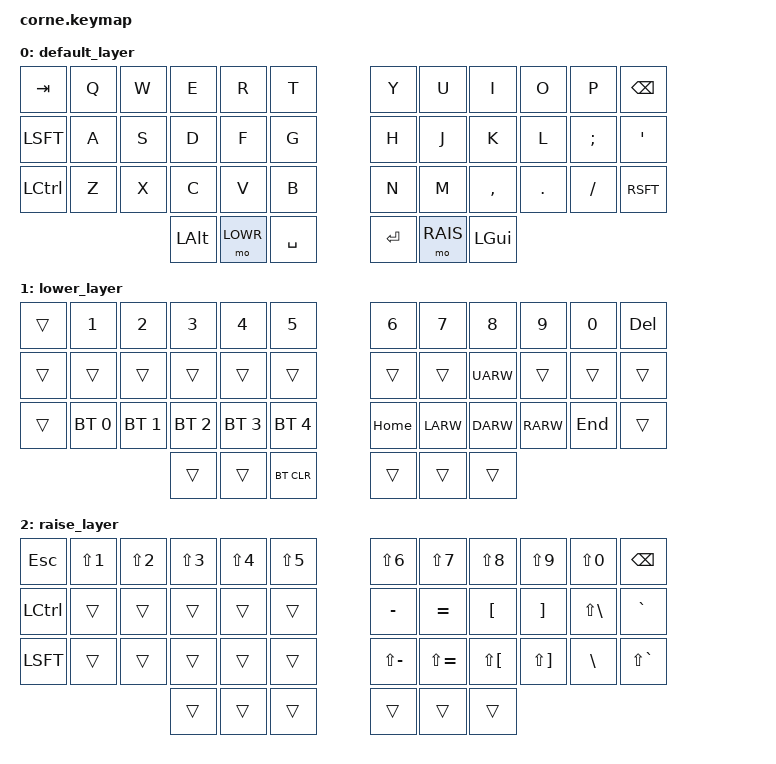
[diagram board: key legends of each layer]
#include <behaviors.dtsi>
#include <dt-bindings/zmk/bt.h>
#include <dt-bindings/zmk/keys.h>

#define LOWR 1
#define RAIS 2

/ {
    behaviors {
        bspc_del: backspace_delete {
            compatible = "zmk,behavior-mod-morph";
            #binding-cells = <0>;
            bindings = <&kp BACKSPACE>, <&kp DELETE>;
            mods = <(MOD_LSFT|MOD_RSFT)>;
            keep-mods = <(MOD_RSFT)>;
        };
    };
        keymap {
                compatible = "zmk,keymap";

                default_layer {
// -----------------------------------------------------------------------------------------
// |  TAB |  Q  |  W  |  E  |  R  |  T  |   |  Y  |  U   |  I  |  O  |  P  | BKSP |
// | CTRL |  A  |  S  |  D  |  F  |  G  |   |  H  |  J   |  K  |  L  |  ;  |  '   |
// | SHFT |  Z  |  X  |  C  |  V  |  B  |   |  N  |  M   |  ,  |  .  |  /  | SHFT |
//                    | GUI | LWR | SPC |   | ENT | RSE  | ALT |
                        bindings = <
   &kp TAB  &kp Q &kp W &kp E &kp R &kp T   &kp Y &kp U  &kp I    &kp O   &kp P    &kp BKSP
   &kp LSFT &kp A &kp S &kp D &kp F &kp G   &kp H &kp J  &kp K    &kp L   &kp SCLN &kp QUOT
   &kp LCTL &kp Z &kp X &kp C &kp V &kp B   &kp N &kp M  &kp CMMA &kp DOT &kp FSLH &kp RSFT
                   &kp LALT &mo LOWR &kp SPC   &kp RET &mo RAIS &kp LGUI
                        >;
                };
                lower_layer {
// -----------------------------------------------------------------------------------------
// |      |  1  |  2  |  3  |  4  |  5  |   |  6  |  7  |  8  |  9  |  0  | DEL  |
// |      |     |     |     |     |     |   | LFT | DWN |  UP | RGT |     |      |
// |      | BT1 | BT2 | BT3 | BT4 | BT5 |   | HME |     |     | END |     |      |
//                    |     |     | BTC |   |     |     |     |
                        bindings = <
   &trans &kp NUM_1    &kp NUM_2    &kp NUM_3    &kp NUM_4    &kp NUM_5      &kp NUM_6 &kp NUM_7  &kp NUM_8 &kp NUM_9 &kp NUM_0  &kp DEL
   &trans &trans       &trans       &trans       &trans       &trans         &trans    &trans     &kp UARW  &trans    &trans     &trans
   &trans &bt BT_SEL 0 &bt BT_SEL 1 &bt BT_SEL 2 &bt BT_SEL 3 &bt BT_SEL 4   &kp HOME  &kp LARW   &kp DARW  &kp RARW  &kp END    &trans
                                      &trans &trans &bt BT_CLR &trans &trans &trans
                        >;
                };

                raise_layer {
// -----------------------------------------------------------------------------------------
// |  ESC |  !  |  @  |  #  |  $  |  %  |   |  ^  |  &  |  *  |  (  |  )  | BKSP |
// | CTRL |     |     |     |     |     |   |  -  |  =  |  {  |  }  | "|" |  `   |
// | SHFT |     |     |     |     |     |   |  _  |  +  |  [  |  ]  |  \  |  ~   | // TODO: Fix this row when &mkp is committed
//                    | GUI |     | SPC |   | ENT |     | ALT |
   // &kp  ESC &kp LS(NUM_1)  &kp LS(NUM_2)  &kp HASH  &kp CURU  &kp PRCT    &kp CRRT  &kp AMPS &kp KMLT &kp LPRN &kp RPRN &kp BKSP
                        bindings = <
   &kp  ESC &kp LS(NUM_1)  &kp LS(NUM_2)  &kp LS(NUM_3)  &kp LS(NUM_4)  &kp LS(NUM_5)    &kp LS(NUM_6)  &kp LS(NUM_7) &kp LS(NUM_8) &kp LS(NUM_9) &kp LS(NUM_0) &kp BKSP
   &kp LCTL &trans    &trans    &trans    &trans    &trans      &kp MINUS &kp EQL  &kp LBKT &kp RBKT &kp LS(BSLH) &kp GRAV
   &kp LSFT &trans    &trans    &trans    &trans    &trans      &kp LS(MINUS)    &kp LS(EQL)   &kp LS(LBKT)   &kp LS(RBKT)   &kp BSLH &kp LS(GRAV)
                                      &trans &trans &trans   &trans &trans &trans
                        >;
                };
        };
};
